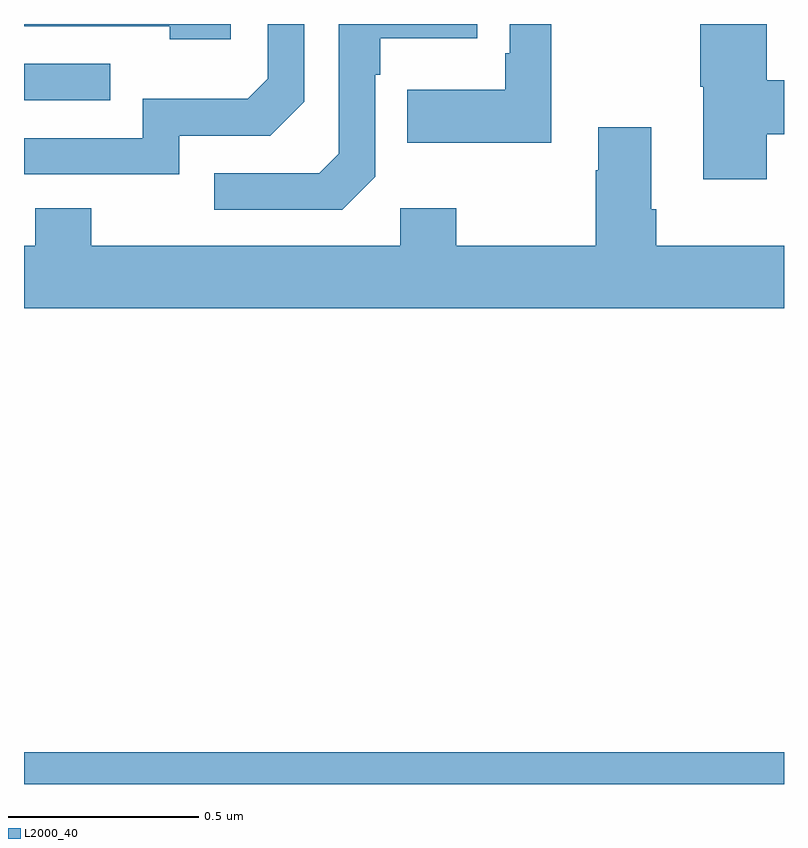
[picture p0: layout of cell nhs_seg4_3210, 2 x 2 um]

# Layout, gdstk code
import gdstk
lib = gdstk.Library(unit=1e-6, precision=1e-09)
def R(c, l, rs):  # rectangles x0, y0, x1, y1
    for r in rs: c.add(gdstk.rectangle(r[:2], r[2:], *l))
def P(c, l, *ps):  # polygons
    for p in ps: c.add(gdstk.Polygon(p, *l))
L2000_40 = (2000, 40)

nhs_seg4_3210 = lib.new_cell('nhs_seg4_3210')
R(nhs_seg4_3210, L2000_40, [(150,796.9,152,796.984), (150,798.699,150.227,798.795)])
P(nhs_seg4_3210, L2000_40, [(150.544,798.9),(150,798.9),(150,798.894),(150.383,798.894),(150.383,798.86),(150.544,798.86)],
  [(150.408,798.606),(150.648,798.606),(150.738,798.696),(150.738,798.9),(150.642,798.9),(150.642,798.756),(150.589,798.703),(150.312,798.703),(150.312,798.6),(150,798.6),(150,798.504),(150.408,798.504)],
  [(151.955,798.61),(152,798.61),(152,798.752),(151.955,798.752),(151.955,798.9),(151.78,798.9),(151.78,798.735),(151.787,798.735),(151.787,798.492),(151.955,798.492)],
  [(151.387,798.9),(151.278,798.9),(151.278,798.823),(151.266,798.823),(151.266,798.727),(151.009,798.727),(151.009,798.587),(151.387,798.587)],
  [(150.924,798.498),(150.924,798.767),(150.937,798.767),(150.937,798.863),(151.193,798.863),(151.193,798.9),(150.828,798.9),(150.828,798.558),(150.777,798.507),(150.501,798.507),(150.501,798.411),(150.837,798.411)],
  [(152,798.316),(151.664,798.316),(151.664,798.412),(151.651,798.412),(151.651,798.628),(151.511,798.628),(151.511,798.515),(151.504,798.515),(151.504,798.316),(151.137,798.316),(151.137,798.415),(150.99,798.415),(150.99,798.316),(150.177,798.316),(150.177,798.415),(150.029,798.415),(150.029,798.316),(150,798.316),(150,798.152),(152,798.152)])

lib.write_gds('nhs_seg4_3210.gds')
